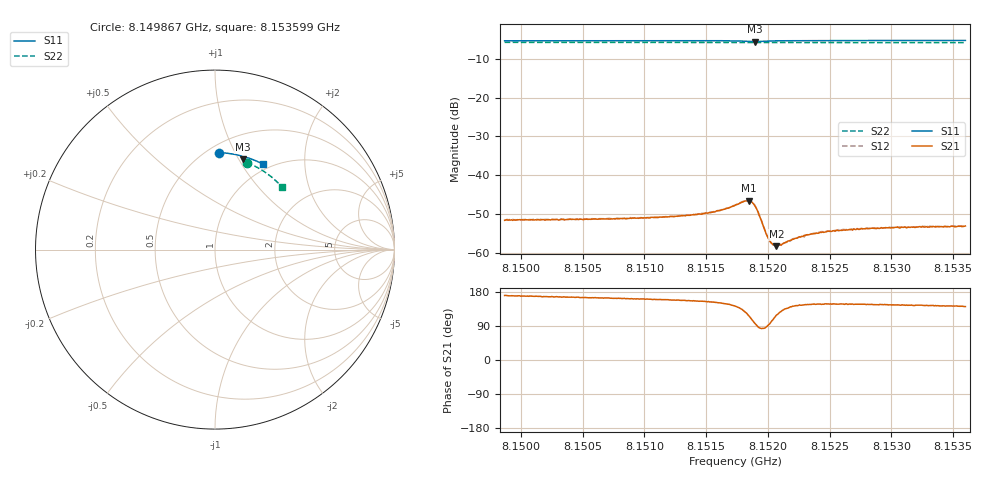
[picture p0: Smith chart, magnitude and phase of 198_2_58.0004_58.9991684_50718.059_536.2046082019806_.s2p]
#  HZ  S  RI  R  50.00
! Rohde & Schwarz Vector Network Analyzer
! Rohde-Schwarz,ZNB20-2Port,1311601062101988,3.16
! Created: UTC 3/21/2024, 12:59:07 AM
! freq[Hz]  re:S11  im:S11  re:S21  im:S21  re:S12  im:S12  re:S22  im:S22
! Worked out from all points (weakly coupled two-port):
!   401 points, 8.149867 GHz to 8.153599 GHz, reference 50 ohm
!   highest |S21| = -46.57 dB at 8.151845 GHz (marker M1); lowest = -58.3 dB at 8.152069 GHz (marker M2)
!   lowest |S11| = -5.6 dB at 8.151892 GHz (marker M3), VSWR 3.22, Z = 37.3 + j52 ohm
!   |S11| at or under -10 dB: nowhere
!   |S22| runs from -5.8 to -5.7 dB; largest |S21 - S12| = 0.00012
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8.1498672e9  0.0216 0.5397  -0.00259 0.000442  -0.00262 0.000513  0.1779 0.4843
8.1504924e9  0.0654 0.5371  -0.00261 0.000705  -0.00264 0.000737  0.2151 0.4681
8.1511175e9  0.1092 0.5308  -0.0027 0.000998  -0.00266 0.00107  0.2508 0.4491
8.1513134e9  0.1231 0.5279  -0.00278 0.00115  -0.00275 0.00118  0.2615 0.4426
8.151472e9  0.1346 0.525  -0.00288 0.00135  -0.00289 0.00142  0.2703 0.4372
8.1516213e9  0.1462 0.5213  -0.00309 0.00177  -0.0031 0.00181  0.2783 0.4318
8.1517332e9  0.1552 0.5161  -0.00324 0.00249  -0.00324 0.00255  0.2841 0.4277
8.1518079e9  0.1596 0.5094  -0.00289 0.0036  -0.00285 0.00364  0.2879 0.4247
8.1518452e9  0.159 0.505  -0.0021 0.0042  -0.00206 0.00424  0.2896 0.4232
8.1518732e9  0.1565 0.503  -0.00117 0.0043  -0.00113 0.00434  0.2911 0.4222
8.1518919e9  0.1544 0.5033  -0.000542 0.00405  -0.000467 0.00414  0.2918 0.4216
8.1519198e9  0.1524 0.5056  0.000152 0.00334  0.000177 0.0034  0.2933 0.4207
8.1519852e9  0.1555 0.5119  9.53e-05 0.00175  0.000157 0.00182  0.2966 0.4185
8.1520038e9  0.1571 0.513  -7.05e-05 0.00154  -3e-05 0.00153  0.2978 0.4179
8.1520411e9  0.161 0.5141  -0.000361 0.00121  -0.000367 0.00125  0.2996 0.4165
8.1520691e9  0.1636 0.5144  -0.000585 0.00107  -0.000574 0.00109  0.3011 0.4153
8.1521064e9  0.167 0.5142  -0.000769 0.000984  -0.000786 0.00103  0.3032 0.4141
8.1522371e9  0.1779 0.5125  -0.00124 0.000922  -0.00125 0.000925  0.3099 0.4089
8.1523584e9  0.1868 0.51  -0.00148 0.000948  -0.00148 0.000967  0.3159 0.404
8.1526289e9  0.2056 0.5037  -0.00166 0.00104  -0.00168 0.00106  0.3292 0.3928
8.1529835e9  0.2289 0.4942  -0.00175 0.0012  -0.00175 0.00119  0.3459 0.3777
8.1535992e9  0.2677 0.4755  -0.00172 0.0014  -0.00169 0.00141  0.373 0.3494
